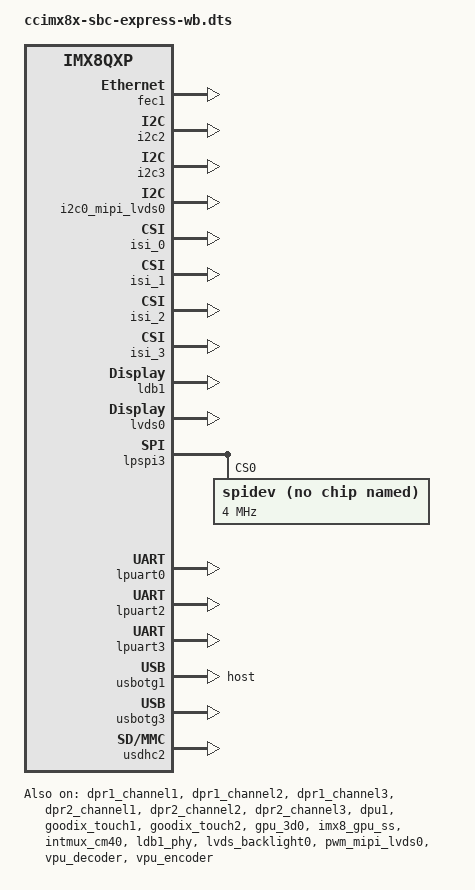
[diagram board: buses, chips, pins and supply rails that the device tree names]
/*
 * Copyright 2018, Digi International Inc.
 *
 * Permission to use, copy, modify, and/or distribute this software for any
 * purpose with or without fee is hereby granted, provided that the above
 * copyright notice and this permission notice appear in all copies.
 * THE SOFTWARE IS PROVIDED "AS IS" AND THE AUTHOR DISCLAIMS ALL WARRANTIES
 * WITH REGARD TO THIS SOFTWARE INCLUDING ALL IMPLIED WARRANTIES OF
 * MERCHANTABILITY AND FITNESS. IN NO EVENT SHALL THE AUTHOR BE LIABLE FOR
 * ANY SPECIAL, DIRECT, INDIRECT, OR CONSEQUENTIAL DAMAGES OR ANY DAMAGES
 * WHATSOEVER RESULTING FROM LOSS OF USE, DATA OR PROFITS, WHETHER IN AN
 * ACTION OF CONTRACT, NEGLIGENCE OR OTHER TORTIOUS ACTION, ARISING OUT OF
 * OR IN CONNECTION WITH THE USE OR PERFORMANCE OF THIS SOFTWARE.
 */

/dts-v1/;

/* i.MX8QXP CPU */
#include "../freescale/fsl-imx8qxp.dtsi"
/* Digi ConnectCore 8X (WiFi/bluetooth variant) */
#include "ccimx8x-wb.dtsi"
/* Digi ConnectCore 8X SBC Express */
#include "ccimx8x-sbc-express.dtsi"

&dpr1_channel1 {
	status = "okay";
};

&dpr1_channel2 {
	status = "okay";
};

&dpr1_channel3 {
	status = "okay";
};

&dpr2_channel1 {
	status = "okay";
};

&dpr2_channel2 {
	status = "okay";
};

&dpr2_channel3 {
	status = "okay";
};

&dpu1 {
	status = "okay";
};

&fec1 {
	status = "okay";
};

/*
 * CAN0 port conflicts with LPUART0 RTS/CTS lines.
 * Before enabling the port you need to configure
 * lpuart0 node as 2 wires.
 */
&flexcan1 {
	status = "disabled";
};

/*
 * CAN1 port's pins are configured as GPIO by
 * default. Before enabling the port, you must remove
 * the SC_P_FLEXCAN1_RX_LSIO_GPIO1_IO17 and
 * SC_P_FLEXCAN1_TX_LSIO_GPIO1_IO18 entries from
 * the pinctrl_expansion node.
 */
&flexcan2 {
	status = "disabled";
};

/*
 * CAN2 port's pins are configured as GPIO by
 * default. Before enabling the port, you must remove
 * the SC_P_FLEXCAN2_RX_LSIO_GPIO1_IO19 and
 * SC_P_FLEXCAN2_TX_LSIO_GPIO1_IO20 entries from
 * the pinctrl_expansion node.
 */
&flexcan3 {
	status = "disabled";
};

/*
 * On the CC8X SBC, an inconsistent reset sequence makes
 * the Goodix display's touch controller respond to two I2C
 * addresses: 0x14 and 0x5D. To make sure the touchscreen
 * works every time, the touch controller's description must
 * be duplicated for both addresses.
 */
&goodix_touch1 {
	status = "okay";
};

&goodix_touch2 {
	status = "okay";
};

&gpu_3d0 {
	status = "okay";
};

/* I2C2 available on Raspberry Pi expansion header */
&i2c2 {
	status = "okay";
};

/* I2C3 available on Raspberry Pi expansion header */
&i2c3 {
	status = "okay";
};

/* MIPI-DSI0 I2C available on LVDS connector */
&i2c0_mipi_lvds0 {
	status = "okay";
};

&imx8_gpu_ss {
	status = "okay";
};

&intmux_cm40 {
	status = "okay";
};

&isi_0 {
	status = "okay";
};

&isi_1 {
	status = "okay";
};

&isi_2 {
	status = "okay";
};

&isi_3 {
	status = "okay";
};

&ldb1 {
	status = "okay";
};

&ldb1_phy {
	status = "okay";
};

&lvds0 {
	status = "okay";
};

&lvds_backlight0 {
	status = "okay";
};

&pwm_mipi_lvds0 {
	status = "okay";
};

/* LPSPI3 on Raspberry Pi expansion header */
&lpspi3 {
	status = "okay";

	/*
	 * Add your slave devices here. Next is an example of spidev.
	 * Expect a harmless kernel warning if you enable spidev as slave.
	 */
	spidev@0 {
		compatible = "spidev";
		spi-max-frequency = <4000000>;
		reg = <0>;
	};
};

/* LPUART0 on XBee socket */
&lpuart0 {
	/* RTS/CTS lines multiplexed with CAN0 */
	pinctrl-0 = <&pinctrl_lpuart0_4wires>, <&pinctrl_xbee_gpios>;
	/* Comment the line above and uncomment the next one to use 2-wires */
	//pinctrl-0 = <&pinctrl_lpuart0_2wires>, <&pinctrl_xbee_gpios>;
	status = "okay";
};

/* Console */
&lpuart2 {
	status = "okay";
};

/* LPUART3 on expansion header */
&lpuart3 {
	status = "okay";
};

/*
 * Uncomment to enable MCA ADC channels on Rasberry Pi Expansion connector:
 *  - MCA_IO1 (channel 1)
 *  - MCA_IO2 (channel 2)
 *  - MCA_IO3 (channel 3)
 *  - MCA_IO4 (channel 4)
 *  - MCA_IO5 (channel 5)
 *  - MCA_IO6 (channel 6)
 *  - MCA_IO7 (channel 7)
 *  - MCA_IO8 (channel 8)
 * Edit adc-ch-list to include the ADC channels that you want to enable.
 */
// &mca_adc {
//	digi,adc-ch-list = <1 2 3 4 5 6 7 8>;
//	digi,adc-vref = <3000000>;
// };

/*
 * Uncomment to Enable Tamper detection. There are 2 digital (0 and 1) and 2
 * analog (2 and 3) tamper interfaces.
 */
//&mca_tamper {
//	digi,tamper-if-list = <0 1 2 3>;
//};

/* USB_OTG1 */
&usbotg1 {
	/*
	 * To configure this USB controller as a device set dr_mode to "otg";
	 * to configure it as a host set to "host" instead.
	 */
	dr_mode = "host";
	status = "okay";
};

/* USB_OTG2 */
&usbotg3 {
	status = "okay";
};

/* Micro SD card */
&usdhc2 {
	status = "okay";
};

&vpu_decoder {
	status = "okay";
};

&vpu_encoder {
	status = "okay";
};

/* IOMUX */
&iomuxc {
	pinctrl-0 = <&pinctrl_hog>, <&pinctrl_expansion>;

	/* Raspberry Pi Expansion Connector */
	pinctrl_expansion: expansiongrp {
		fsl,pins = <
			SC_P_MIPI_DSI0_GPIO0_01_LSIO_GPIO1_IO28	0x06000020
			SC_P_USDHC1_WP_LSIO_GPIO4_IO21		0x06000020
			SC_P_USDHC1_CD_B_LSIO_GPIO4_IO22	0x06000020
			SC_P_MIPI_DSI1_I2C0_SCL_LSIO_GPIO1_IO29	0x06000020
			SC_P_MIPI_DSI1_I2C0_SDA_LSIO_GPIO1_IO30	0x06000020
			SC_P_QSPI0A_SS1_B_LSIO_GPIO3_IO15	0x06000020
			SC_P_USDHC1_VSELECT_LSIO_GPIO4_IO20	0x06000020
			SC_P_ENET0_RGMII_RXC_LSIO_GPIO5_IO03	0x06000020

			/* Remove these if you wish to use the flexcan2 interface */
			SC_P_FLEXCAN1_RX_LSIO_GPIO1_IO17	0x06000020
			SC_P_FLEXCAN1_TX_LSIO_GPIO1_IO18	0x06000020

			/* Remove these if you wish to use the flexcan3 interface */
			SC_P_FLEXCAN2_RX_LSIO_GPIO1_IO19	0x06000020
			SC_P_FLEXCAN2_TX_LSIO_GPIO1_IO20	0x06000020
		>;
	};
};
